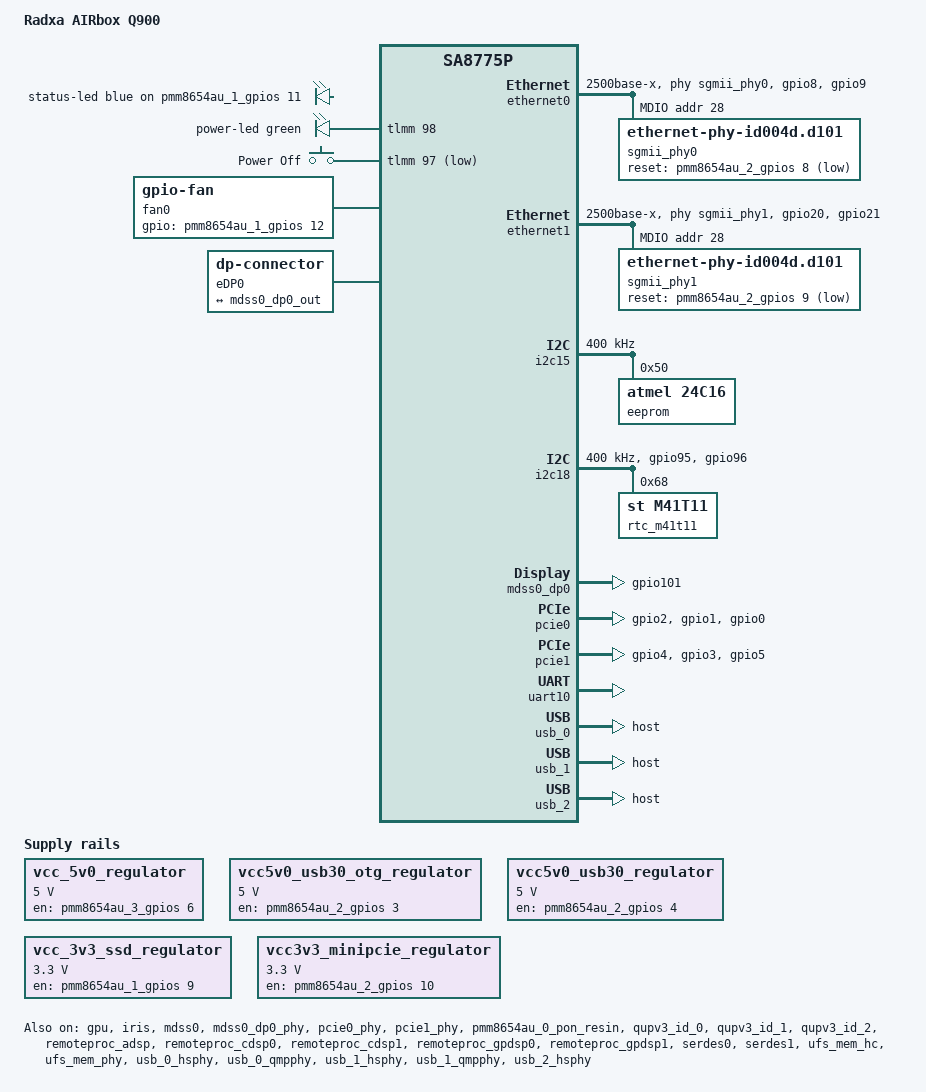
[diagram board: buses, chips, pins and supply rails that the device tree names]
// SPDX-License-Identifier: BSD-3-Clause
/*
 * Copyright (c) 2026 Mecid Urganci
 */

/dts-v1/;

#include <dt-bindings/gpio/gpio.h>
#include <dt-bindings/leds/common.h>
#include <dt-bindings/regulator/qcom,rpmh-regulator.h>

#include "lemans.dtsi"
#include "lemans-pmics.dtsi"

/ {
	model = "Radxa AIRbox Q900";
	compatible = "radxa,airbox-q900", "qcom,qcs9075", "qcom,sa8775p";

	aliases {
		ethernet0 = &ethernet0;
		ethernet1 = &ethernet1;
		i2c15 = &i2c15;
		i2c18 = &i2c18;
		serial0 = &uart10;
		ufshc1 = &ufs_mem_hc;
	};

	chosen {
		stdout-path = "serial0:115200n8";
	};

	vcc_5v0_regulator: vcc-5v0-regulator {
		compatible = "regulator-fixed";
		regulator-name = "vcc_5v0";
		gpio = <&pmm8654au_3_gpios 6 GPIO_ACTIVE_HIGH>;
		pinctrl-names = "default";
		pinctrl-0 = <&vcc_5v0_en_state>;
		regulator-min-microvolt = <5000000>;
		regulator-max-microvolt = <5000000>;
		regulator-boot-on;
		enable-active-high;
		regulator-always-on;
	};

	vcc5v0_usb30_otg_regulator: vcc5v0-usb30-otg-regulator {
		compatible = "regulator-fixed";
		regulator-name = "vcc5v0_usb30_otg";
		gpio = <&pmm8654au_2_gpios 3 GPIO_ACTIVE_HIGH>;
		pinctrl-names = "default";
		pinctrl-0 = <&vcc3v3_usb30_otg_en_state>;
		regulator-min-microvolt = <5000000>;
		regulator-max-microvolt = <5000000>;
		regulator-boot-on;
		enable-active-high;
		regulator-always-on;
	};

	vcc5v0_usb30_regulator: vcc5v0-usb30-regulator {
		compatible = "regulator-fixed";
		regulator-name = "vcc5v0_usb30";
		gpio = <&pmm8654au_2_gpios 4 GPIO_ACTIVE_HIGH>;
		pinctrl-names = "default";
		pinctrl-0 = <&vcc3v3_usb30_en_state>;
		regulator-min-microvolt = <5000000>;
		regulator-max-microvolt = <5000000>;
		regulator-boot-on;
		enable-active-high;
		regulator-always-on;
	};

	vcc_3v3_ssd_regulator: vcc-3p3-ssd-regulator {
		compatible = "regulator-fixed";
		regulator-name = "vcc_3v3_ssd";
		gpio = <&pmm8654au_1_gpios 9 GPIO_ACTIVE_HIGH>;
		pinctrl-names = "default";
		pinctrl-0 = <&vcc_3v3_ssd_en_state>;
		regulator-min-microvolt = <3300000>;
		regulator-max-microvolt = <3300000>;
		regulator-boot-on;
		enable-active-high;
		regulator-always-on;
	};

	vcc3v3_minipcie_regulator: vcc3v3-minipcie-regulator {
		compatible = "regulator-fixed";
		regulator-name = "vcc3v3_minipcie";
		gpio = <&pmm8654au_2_gpios 10 GPIO_ACTIVE_HIGH>;
		pinctrl-names = "default";
		pinctrl-0 = <&vcc3v3_minipcie_en_state>;
		regulator-min-microvolt = <3300000>;
		regulator-max-microvolt = <3300000>;
		regulator-boot-on;
		enable-active-high;
		regulator-always-on;
	};

	gpio_leds: gpio-leds {
		compatible = "gpio-leds";
		pinctrl-names = "default";
		pinctrl-0 = <&status_led_state>, <&power_led_state>;

		status-led {
			gpios = <&pmm8654au_1_gpios 11 GPIO_ACTIVE_HIGH>;
			linux,default-trigger = "heartbeat";
			function = LED_FUNCTION_STATUS;
			color = <LED_COLOR_ID_BLUE>;
		};

		power-led {
			gpios = <&tlmm 98 GPIO_ACTIVE_HIGH>;
			linux,default-trigger = "default-on";
			function = LED_FUNCTION_POWER;
			color = <LED_COLOR_ID_GREEN>;
		};
	};

	gpio_keys: gpio-keys {
		compatible = "gpio-keys";

		pinctrl-0 = <&gpio_keys_default>;
		pinctrl-names = "default";

		power-key {
			label = "Power Off";
			gpios = <&tlmm 97 GPIO_ACTIVE_LOW>;
			linux,code = <KEY_POWER>;
			wakeup-source;
			debounce-interval = <30>;
		};
	};

	fan0: gpio-fan {
		compatible = "gpio-fan";
		gpios = <&pmm8654au_1_gpios 12 GPIO_ACTIVE_HIGH>;
		gpio-fan,speed-map = <0 0>, <5000 1>;
		pinctrl-names = "default";
		pinctrl-0 = <&fan_en_state>;
		#cooling-cells = <2>;
	};

	dp0-connector {
		compatible = "dp-connector";
		label = "eDP0";
		type = "full-size";

		port {
			dp0_connector_in: endpoint {
				remote-endpoint = <&mdss0_dp0_out>;
			};
		};
	};
};

&apps_rsc {
	regulators-0 {
		compatible = "qcom,pmm8654au-rpmh-regulators";
		qcom,pmic-id = "a";

		vreg_s4a: smps4 {
			regulator-name = "vreg_s4a";
			regulator-min-microvolt = <1800000>;
			regulator-max-microvolt = <1816000>;
			regulator-initial-mode = <RPMH_REGULATOR_MODE_HPM>;
		};

		vreg_s5a: smps5 {
			regulator-name = "vreg_s5a";
			regulator-min-microvolt = <1850000>;
			regulator-max-microvolt = <1996000>;
			regulator-initial-mode = <RPMH_REGULATOR_MODE_HPM>;
		};

		vreg_s9a: smps9 {
			regulator-name = "vreg_s9a";
			regulator-min-microvolt = <535000>;
			regulator-max-microvolt = <1120000>;
			regulator-initial-mode = <RPMH_REGULATOR_MODE_HPM>;
		};

		vreg_l4a: ldo4 {
			regulator-name = "vreg_l4a";
			regulator-min-microvolt = <788000>;
			regulator-max-microvolt = <1050000>;
			regulator-initial-mode = <RPMH_REGULATOR_MODE_HPM>;
			regulator-allow-set-load;
			regulator-allowed-modes = <RPMH_REGULATOR_MODE_LPM
						   RPMH_REGULATOR_MODE_HPM>;
		};

		vreg_l5a: ldo5 {
			regulator-name = "vreg_l5a";
			regulator-min-microvolt = <870000>;
			regulator-max-microvolt = <950000>;
			regulator-initial-mode = <RPMH_REGULATOR_MODE_HPM>;
			regulator-allow-set-load;
			regulator-allowed-modes = <RPMH_REGULATOR_MODE_LPM
						   RPMH_REGULATOR_MODE_HPM>;
		};

		vreg_l6a: ldo6 {
			regulator-name = "vreg_l6a";
			regulator-min-microvolt = <870000>;
			regulator-max-microvolt = <970000>;
			regulator-initial-mode = <RPMH_REGULATOR_MODE_HPM>;
			regulator-allow-set-load;
			regulator-allowed-modes = <RPMH_REGULATOR_MODE_LPM
						   RPMH_REGULATOR_MODE_HPM>;
		};

		vreg_l7a: ldo7 {
			regulator-name = "vreg_l7a";
			regulator-min-microvolt = <720000>;
			regulator-max-microvolt = <950000>;
			regulator-initial-mode = <RPMH_REGULATOR_MODE_HPM>;
			regulator-allow-set-load;
			regulator-allowed-modes = <RPMH_REGULATOR_MODE_LPM
						   RPMH_REGULATOR_MODE_HPM>;
		};

		vreg_l8a: ldo8 {
			regulator-name = "vreg_l8a";
			regulator-min-microvolt = <2504000>;
			regulator-max-microvolt = <3300000>;
			regulator-initial-mode = <RPMH_REGULATOR_MODE_HPM>;
			regulator-allow-set-load;
			regulator-allowed-modes = <RPMH_REGULATOR_MODE_LPM
						   RPMH_REGULATOR_MODE_HPM>;
		};

		vreg_l9a: ldo9 {
			regulator-name = "vreg_l9a";
			regulator-min-microvolt = <2970000>;
			regulator-max-microvolt = <3544000>;
			regulator-initial-mode = <RPMH_REGULATOR_MODE_HPM>;
			regulator-allow-set-load;
			regulator-allowed-modes = <RPMH_REGULATOR_MODE_LPM
						   RPMH_REGULATOR_MODE_HPM>;
		};
	};

	regulators-1 {
		compatible = "qcom,pmm8654au-rpmh-regulators";
		qcom,pmic-id = "c";

		vreg_l1c: ldo1 {
			regulator-name = "vreg_l1c";
			regulator-min-microvolt = <1140000>;
			regulator-max-microvolt = <1260000>;
			regulator-initial-mode = <RPMH_REGULATOR_MODE_HPM>;
			regulator-allow-set-load;
			regulator-allowed-modes = <RPMH_REGULATOR_MODE_LPM
						   RPMH_REGULATOR_MODE_HPM>;
		};

		vreg_l2c: ldo2 {
			regulator-name = "vreg_l2c";
			regulator-min-microvolt = <900000>;
			regulator-max-microvolt = <1100000>;
			regulator-initial-mode = <RPMH_REGULATOR_MODE_HPM>;
			regulator-allow-set-load;
			regulator-allowed-modes = <RPMH_REGULATOR_MODE_LPM
						   RPMH_REGULATOR_MODE_HPM>;
		};

		vreg_l3c: ldo3 {
			regulator-name = "vreg_l3c";
			regulator-min-microvolt = <1100000>;
			regulator-max-microvolt = <1300000>;
			regulator-initial-mode = <RPMH_REGULATOR_MODE_HPM>;
			regulator-allow-set-load;
			regulator-allowed-modes = <RPMH_REGULATOR_MODE_LPM
						   RPMH_REGULATOR_MODE_HPM>;
		};

		vreg_l4c: ldo4 {
			regulator-name = "vreg_l4c";
			regulator-min-microvolt = <1200000>;
			regulator-max-microvolt = <1200000>;
			regulator-initial-mode = <RPMH_REGULATOR_MODE_HPM>;
			/*
			 * FIXME: This should have regulator-allow-set-load but
			 * we're getting an over-current fault from the PMIC
			 * when switching to LPM.
			 */
		};

		vreg_l5c: ldo5 {
			regulator-name = "vreg_l5c";
			regulator-min-microvolt = <1100000>;
			regulator-max-microvolt = <1300000>;
			regulator-initial-mode = <RPMH_REGULATOR_MODE_HPM>;
			regulator-allow-set-load;
			regulator-allowed-modes = <RPMH_REGULATOR_MODE_LPM
						   RPMH_REGULATOR_MODE_HPM>;
		};

		vreg_l6c: ldo6 {
			regulator-name = "vreg_l6c";
			regulator-min-microvolt = <1620000>;
			regulator-max-microvolt = <1980000>;
			regulator-initial-mode = <RPMH_REGULATOR_MODE_HPM>;
			regulator-allow-set-load;
			regulator-allowed-modes = <RPMH_REGULATOR_MODE_LPM
						   RPMH_REGULATOR_MODE_HPM>;
		};

		vreg_l7c: ldo7 {
			regulator-name = "vreg_l7c";
			regulator-min-microvolt = <1620000>;
			regulator-max-microvolt = <2000000>;
			regulator-initial-mode = <RPMH_REGULATOR_MODE_HPM>;
			regulator-allow-set-load;
			regulator-allowed-modes = <RPMH_REGULATOR_MODE_LPM
						   RPMH_REGULATOR_MODE_HPM>;
		};

		vreg_l8c: ldo8 {
			regulator-name = "vreg_l8c";
			regulator-min-microvolt = <2400000>;
			regulator-max-microvolt = <3300000>;
			regulator-initial-mode = <RPMH_REGULATOR_MODE_HPM>;
			regulator-allow-set-load;
			regulator-allowed-modes = <RPMH_REGULATOR_MODE_LPM
						   RPMH_REGULATOR_MODE_HPM>;
		};

		vreg_l9c: ldo9 {
			regulator-name = "vreg_l9c";
			regulator-min-microvolt = <1650000>;
			regulator-max-microvolt = <2700000>;
			regulator-initial-mode = <RPMH_REGULATOR_MODE_HPM>;
			regulator-allow-set-load;
			regulator-allowed-modes = <RPMH_REGULATOR_MODE_LPM
						   RPMH_REGULATOR_MODE_HPM>;
		};
	};

	regulators-2 {
		compatible = "qcom,pmm8654au-rpmh-regulators";
		qcom,pmic-id = "e";

		vreg_s4e: smps4 {
			regulator-name = "vreg_s4e";
			regulator-min-microvolt = <970000>;
			regulator-max-microvolt = <1520000>;
			regulator-initial-mode = <RPMH_REGULATOR_MODE_HPM>;
		};

		vreg_s7e: smps7 {
			regulator-name = "vreg_s7e";
			regulator-min-microvolt = <1010000>;
			regulator-max-microvolt = <1170000>;
			regulator-initial-mode = <RPMH_REGULATOR_MODE_HPM>;
		};

		vreg_s9e: smps9 {
			regulator-name = "vreg_s9e";
			regulator-min-microvolt = <300000>;
			regulator-max-microvolt = <570000>;
			regulator-initial-mode = <RPMH_REGULATOR_MODE_HPM>;
		};

		vreg_l6e: ldo6 {
			regulator-name = "vreg_l6e";
			regulator-min-microvolt = <1280000>;
			regulator-max-microvolt = <1450000>;
			regulator-initial-mode = <RPMH_REGULATOR_MODE_HPM>;
			regulator-allow-set-load;
			regulator-allowed-modes = <RPMH_REGULATOR_MODE_LPM
						   RPMH_REGULATOR_MODE_HPM>;
		};

		vreg_l8e: ldo8 {
			regulator-name = "vreg_l8e";
			regulator-min-microvolt = <1800000>;
			regulator-max-microvolt = <1950000>;
			regulator-initial-mode = <RPMH_REGULATOR_MODE_HPM>;
			regulator-allow-set-load;
			regulator-allowed-modes = <RPMH_REGULATOR_MODE_LPM
						   RPMH_REGULATOR_MODE_HPM>;
		};
	};
};

&ethernet0 {
	phy-handle = <&sgmii_phy0>;
	phy-mode = "2500base-x";

	pinctrl-0 = <&ethernet0_default>;
	pinctrl-names = "default";

	snps,mtl-rx-config = <&mtl_rx_setup>;
	snps,mtl-tx-config = <&mtl_tx_setup>;
	snps,ps-speed = <2500>;

	status = "okay";

	mdio {
		compatible = "snps,dwmac-mdio";
		#address-cells = <1>;
		#size-cells = <0>;

		sgmii_phy0: ethernet-phy@1c {
			compatible = "ethernet-phy-id004d.d101";
			reg = <0x1c>;
			reset-gpios = <&pmm8654au_2_gpios 8 GPIO_ACTIVE_LOW>;
			reset-assert-us = <11000>;
			reset-deassert-us = <70000>;

			leds {
				#address-cells = <1>;
				#size-cells = <0>;

				led@0 {
					reg = <0>;
					active-low;
					color = <LED_COLOR_ID_YELLOW>;
				};

				led@1 {
					reg = <1>;
					active-low;
					color = <LED_COLOR_ID_GREEN>;
				};
			};
		};
	};

	mtl_rx_setup: rx-queues-config {
		snps,rx-queues-to-use = <4>;
		snps,rx-sched-sp;

		queue0 {
			snps,dcb-algorithm;
			snps,map-to-dma-channel = <0x0>;
			snps,route-up;
			snps,priority = <0x1>;
		};

		queue1 {
			snps,dcb-algorithm;
			snps,map-to-dma-channel = <0x1>;
			snps,route-ptp;
		};

		queue2 {
			snps,avb-algorithm;
			snps,map-to-dma-channel = <0x2>;
			snps,route-avcp;
		};

		queue3 {
			snps,avb-algorithm;
			snps,map-to-dma-channel = <0x3>;
			snps,priority = <0xc>;
		};
	};

	mtl_tx_setup: tx-queues-config {
		snps,tx-queues-to-use = <4>;

		queue0 {
			snps,dcb-algorithm;
		};

		queue1 {
			snps,dcb-algorithm;
		};

		queue2 {
			snps,avb-algorithm;
			snps,send_slope = <0x1000>;
			snps,idle_slope = <0x1000>;
			snps,high_credit = <0x3e800>;
			snps,low_credit = <0xffc18000>;
		};

		queue3 {
			snps,avb-algorithm;
			snps,send_slope = <0x1000>;
			snps,idle_slope = <0x1000>;
			snps,high_credit = <0x3e800>;
			snps,low_credit = <0xffc18000>;
		};
	};
};

&ethernet1 {
	phy-handle = <&sgmii_phy1>;
	phy-mode = "2500base-x";

	pinctrl-0 = <&ethernet1_default>;
	pinctrl-names = "default";

	snps,mtl-rx-config = <&mtl_rx_setup1>;
	snps,mtl-tx-config = <&mtl_tx_setup1>;
	snps,ps-speed = <2500>;

	status = "okay";

	mdio {
		compatible = "snps,dwmac-mdio";
		#address-cells = <1>;
		#size-cells = <0>;

		sgmii_phy1: ethernet-phy@1c {
			compatible = "ethernet-phy-id004d.d101";
			reg = <0x1c>;
			reset-gpios = <&pmm8654au_2_gpios 9 GPIO_ACTIVE_LOW>;
			reset-assert-us = <11000>;
			reset-deassert-us = <70000>;

			leds {
				#address-cells = <1>;
				#size-cells = <0>;

				led@0 {
					reg = <0>;
					active-low;
					color = <LED_COLOR_ID_YELLOW>;
				};

				led@1 {
					reg = <1>;
					active-low;
					color = <LED_COLOR_ID_GREEN>;
				};
			};
		};
	};

	mtl_rx_setup1: rx-queues-config {
		snps,rx-queues-to-use = <4>;
		snps,rx-sched-sp;

		queue0 {
			snps,dcb-algorithm;
			snps,map-to-dma-channel = <0x0>;
			snps,route-up;
			snps,priority = <0x1>;
		};

		queue1 {
			snps,dcb-algorithm;
			snps,map-to-dma-channel = <0x1>;
			snps,route-ptp;
		};

		queue2 {
			snps,avb-algorithm;
			snps,map-to-dma-channel = <0x2>;
			snps,route-avcp;
		};

		queue3 {
			snps,avb-algorithm;
			snps,map-to-dma-channel = <0x3>;
			snps,priority = <0xc>;
		};
	};

	mtl_tx_setup1: tx-queues-config {
		snps,tx-queues-to-use = <4>;

		queue0 {
			snps,dcb-algorithm;
		};

		queue1 {
			snps,dcb-algorithm;
		};

		queue2 {
			snps,avb-algorithm;
			snps,send_slope = <0x1000>;
			snps,idle_slope = <0x1000>;
			snps,high_credit = <0x3e800>;
			snps,low_credit = <0xffc18000>;
		};

		queue3 {
			snps,avb-algorithm;
			snps,send_slope = <0x1000>;
			snps,idle_slope = <0x1000>;
			snps,high_credit = <0x3e800>;
			snps,low_credit = <0xffc18000>;
		};
	};
};

&i2c15 {
	clock-frequency = <400000>;
	status = "okay";

	eeprom: eeprom@50 {
		compatible = "atmel,24c16";
		reg = <0x50>;
		pagesize = <16>;
	};
};

&i2c18 {
	clock-frequency = <400000>;
	pinctrl-0 = <&qup_i2c18_default>;
	pinctrl-names = "default";
	status = "okay";

	/* RTC RS4C411ZAE */
	rtc_m41t11: rtc@68 {
		compatible = "st,m41t11";
		reg = <0x68>;
	};
};

&gpu {
	status = "okay";
};

&gpu_zap_shader {
	firmware-name = "qcom/sa8775p/a663_zap.mbn";
};

&iris {
	firmware-name = "qcom/vpu/vpu30_p4_s6.mbn";
	status = "okay";
};

&mdss0 {
	status = "okay";
};

&mdss0_dp0 {
	pinctrl-0 = <&dp_hot_plug_det>;
	pinctrl-names = "default";

	status = "okay";
};

&mdss0_dp0_out {
	data-lanes = <0 1 2 3>;
	link-frequencies = /bits/ 64 <1620000000 2700000000 5400000000 8100000000>;
	remote-endpoint = <&dp0_connector_in>;
};

&mdss0_dp0_phy {
	vdda-phy-supply = <&vreg_l1c>;
	vdda-pll-supply = <&vreg_l4a>;

	status = "okay";
};

&pcie0 {
	perst-gpios = <&tlmm 2 GPIO_ACTIVE_LOW>;
	wake-gpios = <&tlmm 0 GPIO_ACTIVE_HIGH>;

	pinctrl-names = "default";
	pinctrl-0 = <&pcie0_default_state>;

	status = "okay";
};

&pcie1 {
	perst-gpios = <&tlmm 4 GPIO_ACTIVE_LOW>;
	wake-gpios = <&tlmm 5 GPIO_ACTIVE_HIGH>;

	pinctrl-names = "default";
	pinctrl-0 = <&pcie1_default_state>;

	status = "okay";
};

&pcie0_phy {
	vdda-phy-supply = <&vreg_l5a>;
	vdda-pll-supply = <&vreg_l1c>;

	status = "okay";
};

&pcie1_phy {
	vdda-phy-supply = <&vreg_l5a>;
	vdda-pll-supply = <&vreg_l1c>;

	status = "okay";
};

&pmm8654au_0_pon_resin {
	linux,code = <KEY_VOLUMEDOWN>;
	status = "okay";
};

&qupv3_id_0 {
	status = "okay";
};

&qupv3_id_1 {
	status = "okay";
};

&qupv3_id_2 {
	status = "okay";
};

&remoteproc_adsp {
	firmware-name = "qcom/sa8775p/adsp.mbn";
	status = "okay";
};

&remoteproc_cdsp0 {
	firmware-name = "qcom/sa8775p/cdsp0.mbn";
	status = "okay";
};

&remoteproc_cdsp1 {
	firmware-name = "qcom/sa8775p/cdsp1.mbn";
	status = "okay";
};

&remoteproc_gpdsp0 {
	firmware-name = "qcom/sa8775p/gpdsp0.mbn";
	status = "okay";
};

&remoteproc_gpdsp1 {
	firmware-name = "qcom/sa8775p/gpdsp1.mbn";
	status = "okay";
};

&serdes0 {
	phy-supply = <&vreg_l5a>;
	vdda-0p9-supply = <&vreg_l4a>;

	status = "okay";
};

&serdes1 {
	phy-supply = <&vreg_l5a>;
	vdda-0p9-supply = <&vreg_l4a>;

	status = "okay";
};

&sleep_clk {
	clock-frequency = <32768>;
};

&uart10 {
	compatible = "qcom,geni-debug-uart";
	status = "okay";
};

&ufs_mem_hc {
	reset-gpios = <&tlmm 149 GPIO_ACTIVE_LOW>;
	vcc-supply = <&vreg_l8a>;
	vcc-max-microamp = <1100000>;
	vccq-supply = <&vreg_l4c>;
	vccq-max-microamp = <1200000>;

	status = "okay";
};

&ufs_mem_phy {
	vdda-phy-supply = <&vreg_l4a>;
	vdda-pll-supply = <&vreg_l1c>;

	status = "okay";
};

&usb_0 {
	dr_mode = "host";

	status = "okay";
};

&usb_0_hsphy {
	vdda-pll-supply = <&vreg_l7a>;
	vdda18-supply = <&vreg_l6c>;
	vdda33-supply = <&vreg_l9a>;

	status = "okay";
};

&usb_0_qmpphy {
	vdda-phy-supply = <&vreg_l1c>;
	vdda-pll-supply = <&vreg_l7a>;

	status = "okay";
};

&usb_1 {
	dr_mode = "host";

	status = "okay";
};

&usb_1_hsphy {
	vdda-pll-supply = <&vreg_l7a>;
	vdda18-supply = <&vreg_l6c>;
	vdda33-supply = <&vreg_l9a>;

	status = "okay";
};

&usb_1_qmpphy {
	vdda-phy-supply = <&vreg_l1c>;
	vdda-pll-supply = <&vreg_l7a>;

	status = "okay";
};

&usb_2 {
	dr_mode = "host";

	status = "okay";
};

&usb_2_hsphy {
	vdda-pll-supply = <&vreg_l7a>;
	vdda18-supply = <&vreg_l6c>;
	vdda33-supply = <&vreg_l9a>;

	status = "okay";
};

&xo_board_clk {
	clock-frequency = <38400000>;
};

&pmm8654au_1_gpios {
	vcc_3v3_ssd_en_state: vcc-3v3-ssd-en-state {
		pins = "gpio9";
		function = "normal";
		output-high;
		bias-pull-up;
	};

	status_led_state: status-led-state {
		pins = "gpio11";
		function = "normal";
		output-high;
		bias-pull-up;
	};

	fan_en_state: fan-en-state {
		pins = "gpio12";
		function = "normal";
		output-low;
		bias-pull-down;
	};
};

&pmm8654au_2_gpios {
	vcc3v3_usb30_otg_en_state: vcc3v3-usb30-otg-en-state {
		pins = "gpio3";
		function = "normal";
		output-high;
		bias-pull-up;
	};

	vcc3v3_usb30_en_state: vcc3v3-usb30-en-state {
		pins = "gpio4";
		function = "normal";
		output-high;
		bias-pull-up;
	};

	vcc3v3_minipcie_en_state: vcc3v3-minipcie-en-state {
		pins = "gpio10";
		function = "normal";
		output-high;
		bias-pull-up;
	};
};

&pmm8654au_3_gpios {
	vcc_5v0_en_state: vcc-5v0-en-state {
		pins = "gpio6";
		function = "normal";
		output-high;
		bias-pull-up;
	};
};

&tlmm {
	dp_hot_plug_det: dp-hot-plug-det-state {
		pins = "gpio101";
		function = "edp0_hot";
		bias-disable;
	};

	ethernet0_default: ethernet0-default-state {
		ethernet0_mdc: ethernet0-mdc-pins {
			pins = "gpio8";
			function = "emac0_mdc";
			drive-strength = <16>;
			bias-pull-up;
		};

		ethernet0_mdio: ethernet0-mdio-pins {
			pins = "gpio9";
			function = "emac0_mdio";
			drive-strength = <16>;
			bias-pull-up;
		};
	};

	ethernet1_default: ethernet1-default-state {
		ethernet1_mdc: ethernet1-mdc-pins {
			pins = "gpio20";
			function = "emac1_mdc";
			drive-strength = <16>;
			bias-pull-up;
		};

		ethernet1_mdio: ethernet1-mdio-pins {
			pins = "gpio21";
			function = "emac1_mdio";
			drive-strength = <16>;
			bias-pull-up;
		};
	};

	pcie0_default_state: pcie0-default-state {
		perst-pins {
			pins = "gpio2";
			function = "gpio";
			drive-strength = <2>;
			bias-pull-down;
		};

		clkreq-pins {
			pins = "gpio1";
			function = "pcie0_clkreq";
			drive-strength = <2>;
			bias-pull-up;
		};

		wake-pins {
			pins = "gpio0";
			function = "gpio";
			drive-strength = <2>;
			bias-pull-up;
		};
	};

	pcie1_default_state: pcie1-default-state {
		perst-pins {
			pins = "gpio4";
			function = "gpio";
			drive-strength = <2>;
			bias-pull-down;
		};

		clkreq-pins {
			pins = "gpio3";
			function = "pcie1_clkreq";
			drive-strength = <2>;
			bias-pull-up;
		};

		wake-pins {
			pins = "gpio5";
			function = "gpio";
			drive-strength = <2>;
			bias-pull-up;
		};
	};

	qup_i2c18_default: qup-i2c18-state {
		pins = "gpio95", "gpio96";
		function = "qup2_se4";
		drive-strength = <2>;
		bias-pull-up;
	};

	gpio_keys_default: gpio-keys-default-state {
		pins = "gpio97";
		function = "gpio";
		drive-strength = <2>;
		bias-pull-up;
	};

	power_led_state: power-led-state {
		pins = "gpio98";
		function = "gpio";
		output-high;
		bias-pull-up;
	};
};

/ {
	thermal-zones {
		cpu-0-0-0-thermal {
			polling-delay-passive = <1000>;
			polling-delay = <5000>;

			trips {
				fan_on: fan-on {
					temperature = <40000>;
					hysteresis = <5000>;
					type = "active";
				};
			};

			cooling-maps {
				map-fan {
					trip = <&fan_on>;
					cooling-device = <&fan0 1 1>;
				};
			};
		};
	};
};
